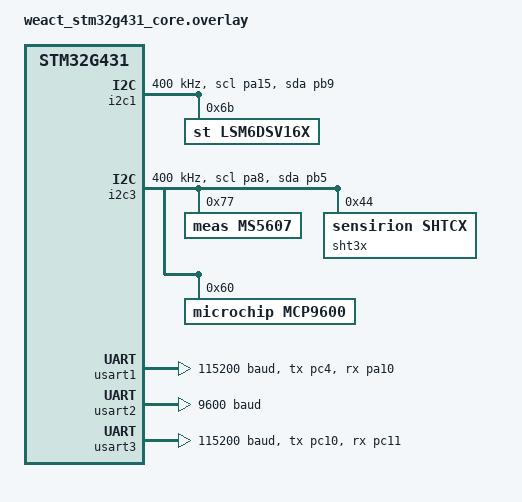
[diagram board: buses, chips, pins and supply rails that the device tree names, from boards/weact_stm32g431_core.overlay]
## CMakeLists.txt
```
cmake_minimum_required(VERSION 3.20.0)

# Board root for custom board
set(BOARD_ROOT ${CMAKE_CURRENT_SOURCE_DIR}/boards)

# Zephyr 찾기
find_package(Zephyr REQUIRED HINTS $ENV{ZEPHYR_BASE})

project(space_balloon_ver2 LANGUAGES C)

# 포팅된 소스 파일
set(PORTED_SOURCES
    src/main.c
    src/fdir_zephyr.c
    src/sensors_zephyr.c
    src/telemetry_zephyr.c
    src/kalman.c
    src/pid.c
    src/actuators_zephyr.c
)

# Zephyr 앱으로 빌드
target_sources(app PRIVATE ${PORTED_SOURCES})

# Include 경로
target_include_directories(app PRIVATE
    ${CMAKE_CURRENT_SOURCE_DIR}/include
)

# C11 표준
target_compile_options(app PRIVATE -std=c11)

# 디버그 심볼
target_compile_options(app PRIVATE -g)
```

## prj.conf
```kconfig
# Space Balloon Ver2 - Zephyr RTOS 설정

# =============================================================================
# 기본 설정
# =============================================================================
CONFIG_MAIN_STACK_SIZE=2048
CONFIG_SYSTEM_WORKQUEUE_STACK_SIZE=2048

# =============================================================================
# 로깅
# =============================================================================
CONFIG_LOG=y
CONFIG_LOG_DEFAULT_LEVEL=3
CONFIG_LOG_BACKEND_UART=y
CONFIG_CBPRINTF_FP_SUPPORT=y
CONFIG_PRINTK=y

# =============================================================================
# UART (텔레메트리 출력)
# =============================================================================
CONFIG_SERIAL=y
CONFIG_UART_INTERRUPT_DRIVEN=y

# =============================================================================
# I2C (센서 통신)
# =============================================================================
CONFIG_I2C=y
CONFIG_I2C_INIT_PRIORITY=60
CONFIG_I2C_STM32=y
CONFIG_I2C_STM32_INTERRUPT=y

# =============================================================================
# GPIO (액추에이터 제어)
# =============================================================================
CONFIG_GPIO=y

# =============================================================================
# 타이머 (FDIR 타임아웃)
# =============================================================================
CONFIG_TIMER_READS_ITS_FREQUENCY_AT_RUNTIME=y

# =============================================================================
# 스레드 (RTOS)
# =============================================================================
CONFIG_MULTITHREADING=y
CONFIG_NUM_COOP_PRIORITIES=16
CONFIG_NUM_PREEMPT_PRIORITIES=16

# =============================================================================
# 센서 서브시스템
# =============================================================================
CONFIG_SENSOR=y

# =============================================================================
# 디버그
# =============================================================================
CONFIG_DEBUG=y
CONFIG_ASSERT=y

# =============================================================================
# 부팅 배너
# =============================================================================
CONFIG_BOOT_BANNER=y
```

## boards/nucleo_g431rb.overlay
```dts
/*
 * Space Balloon Ver2 - Board Overlay for nucleo_g431rb
 * 
 * This overlay adds custom sensors and actuators for the
 * high-altitude radiosonde.
 */

/* Enable I2C1 */
&i2c1 {
	status = "okay";
	clock-frequency = <I2C_BITRATE_FAST>;
	
	/* I2C1 sensors */
	imu: lsm6dsv16x@6b {
		compatible = "st,lsm6dsv16x";
		reg = <0x6b>;
	};
	
	mag: mlx90393@0c {
		compatible = "melexis,mlx90393";
		reg = <0x0c>;
	};
	
	rad: gdk101@18 {
		compatible = "fuka,gdk101";
		reg = <0x18>;
	};
};
```

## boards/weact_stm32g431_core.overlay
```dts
/*
 * Space Balloon Ver2 - Device Tree Overlay for WeAct STM32G431CBU6
 *
 * 핀 매핑 (STM32CubeMX 기준):
 *   I2C1:   PA15(SCL), PB9(SDA)  → IMU(LSM6DSV16X), MLX90393, GDK101
 *   I2C3:   PA8(SCL),  PB5(SDA)  → MS5607, SHT3x, MCP9600, CM1107N, SEN0321
 *   USART1: PC4(TX),   PA10(RX)  → GPS (XA1110)
 *   USART2: PA2(TX),   PA3(RX)   → 미세먼지 (PMS3003) [보드 DTS에 정의됨]
 *   USART3: PC10(TX),  PC11(RX)  → 텔레메트리 (LoRa SX1276)
 */

/* I2C1 센서 (Downside Board) */
&i2c1 {
	status = "okay";
	pinctrl-0 = <&i2c1_scl_pa15 &i2c1_sda_pb9>;
	pinctrl-names = "default";
	clock-frequency = <I2C_BITRATE_FAST>;

	lsm6dsv16x: lsm6dsv16x@6b {
		compatible = "st,lsm6dsv16x";
		reg = <0x6b>;
	};
};

/* I2C3 센서 (Upside Board) - 주의: 하드웨어는 I2C3 사용 */
&i2c3 {
	status = "okay";
	pinctrl-0 = <&i2c3_scl_pa8 &i2c3_sda_pb5>;
	pinctrl-names = "default";
	clock-frequency = <I2C_BITRATE_FAST>;

	ms5607: ms5607@77 {
		compatible = "meas,ms5607";
		reg = <0x77>;
	};

	sht3x: shtcx@44 {
		compatible = "sensirion,shtcx";
		reg = <0x44>;
		measure-mode = "normal";
	};

	mcp9600: mcp9600@60 {
		compatible = "microchip,mcp9600";
		reg = <0x60>;
	};
};

/* USART1 - GPS (XA1110) */
&usart1 {
	status = "okay";
	pinctrl-0 = <&usart1_tx_pc4 &usart1_rx_pa10>;
	pinctrl-names = "default";
	current-speed = <115200>;
};

/* USART2 - 미세먼지 (PMS3003) */
/* pinctrl-0은 보드 DTS에 이미 정의됨 (usart2_tx_pa2, usart2_rx_pa3) */
&usart2 {
	status = "okay";
	current-speed = <9600>;
};

/* USART3 - 텔레메트리 (LoRa SX1276, 115200bps) */
&usart3 {
	status = "okay";
	pinctrl-0 = <&usart3_tx_pc10 &usart3_rx_pc11>;
	pinctrl-names = "default";
	current-speed = <115200>;
};
```

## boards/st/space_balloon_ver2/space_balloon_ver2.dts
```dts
/*
 * Copyright (c) 2026 Hyeonsu Park
 * SPDX-License-Identifier: Apache-2.0
 */

/dts-v1/;
#include <st/g4/stm32g431Xb.dtsi>
#include <st/g4/stm32g431c(6-8-b)tx-pinctrl.dtsi>

/ {
	model = "Space Balloon Ver2 Radiosonde";
	compatible = "space-balloon-ver2";

	chosen {
		zephyr,console = &usart3;
		zephyr,shell-uart = &usart3;
		zephyr,sram = &sram0;
		zephyr,flash = &flash0;
	};

	leds {
		compatible = "gpio-leds";
		green_led: led_0 {
			gpios = <&gpioa 5 GPIO_ACTIVE_HIGH>;
			label = "Status LED";
		};
	};

	pwmleds {
		compatible = "pwm-leds";
		kapton_heater: kapton_heater {
			pwms = <&pwm3 1 PWM_MSEC(20) PWM_POLARITY_NORMAL>;
			label = "Kapton Heater";
		};
		minibulb: minibulb {
			pwms = <&pwm3 0 PWM_MSEC(20) PWM_POLARITY_NORMAL>;
			label = "Minibulb Indicator";
		};
	};

	aliases {
		led0 = &green_led;
		pwm-led0 = &kapton_heater;
		pwm-led1 = &minibulb;
		i2c1 = &i2c1;
		i2c3 = &i2c3;
		uart1 = &usart1;
		uart2 = &usart2;
		uart3 = &usart3;
		adc1 = &adc1;
	};

	/* External sensors */
	sensors {
		compatible = "simple-bus";
		
		/* IMU - LSM6DSV16X */
		imu: imu@6b {
			compatible = "st,lsm6dsv16x";
			reg = <0x6b>;
		};
		
		/* Magnetometer - MLX90393 */
		mag: mag@0c {
			compatible = "melexis,mlx90393";
			reg = <0x0c>;
		};
		
		/* Radiation - GDK101 */
		rad: rad@18 {
			compatible = "fuka,gdk101";
			reg = <0x18>;
		};
		
		/* Barometer - MS5611 */
		baro: baro@77 {
			compatible = "te,ms5611";
			reg = <0x77>;
		};
		
		/* Humidity - SHT31 */
		humidity: humidity@44 {
			compatible = "sensirion,sht3xd";
			reg = <0x44>;
		};
		
		/* CO2 - CM1107N */
		co2: co2@31 {
			compatible = "cubic,cm1107n";
			reg = <0x31>;
		};
		
		/* Thermocouple - MCP9600 */
		thermo: thermo@60 {
			compatible = "microchip,mcp9600";
			reg = <0x60>;
		};
		
		/* Ozone - SEN0321 */
		ozone: ozone@70 {
			compatible = "dfrobot,sen0321";
			reg = <0x70>;
		};
	};
};

/* I2C1 - Downside Board (IMU, Mag, Radiation) */
&i2c1 {
	pinctrl-0 = <&i2c1_scl_pa15 &i2c1_sda_pa16>;
	pinctrl-names = "default";
	status = "okay";
	clock-frequency = <I2C_BITRATE_FAST>;
};

/* I2C3 - Upside Board (Baro, Humidity, CO2, Thermocouple, Ozone) */
&i2c3 {
	pinctrl-0 = <&i2c3_scl_pa7 &i2c3_sda_pb6>;
	pinctrl-names = "default";
	status = "okay";
	clock-frequency = <I2C_BITRATE_FAST>;
};

/* UART1 - GPS (XA1110) */
&usart1 {
	pinctrl-0 = <&usart1_tx_pa9 &usart1_rx_pa10>;
	pinctrl-names = "default";
	current-speed = <115200>;
	status = "okay";
};

/* UART2 - Dust Sensor (PMS3003) */
&usart2 {
	pinctrl-0 = <&usart2_tx_pa2 &usart2_rx_pa3>;
	pinctrl-names = "default";
	current-speed = <9600>;
	status = "okay";
};

/* UART3 - Telemetry Output */
&usart3 {
	pinctrl-0 = <&usart3_tx_pb10 &usart3_rx_pb11>;
	pinctrl-names = "default";
	current-speed = <115200>;
	status = "okay";
};

/* ADC1 - Battery Voltage */
&adc1 {
	pinctrl-0 = <&adc1_in2_pa1>;
	pinctrl-names = "default";
	status = "okay";
};

/* PWM3 - Heaters */
&tsc3 {
	status = "okay";
	pwm3: pwm {
		status = "okay";
		pinctrl-0 = <&tsc3_out1_pa6 &tsc3_out0_pc6>;
		pinctrl-names = "default";
	};
};

/* GPIO resets for sensors */
&gpioa {
	status = "okay";
};

&gpiob {
	status = "okay";
};

&gpioc {
	status = "okay";
};
```

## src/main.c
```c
/**
 * @file main.c
 * @brief Space Balloon Ver2 - Zephyr RTOS 메인 진입점
 * @author Hyeonsu Park
 * @date 2026-02-22
 */

#include <zephyr/kernel.h>
#include <zephyr/logging/log.h>
#include "fdir_zephyr.h"

LOG_MODULE_REGISTER(main, LOG_LEVEL_INF);

/* 스레드 스택 정의 */
K_THREAD_STACK_DEFINE(fdir_stack, 1024);
K_THREAD_STACK_DEFINE(sensor_stack, 2048);
K_THREAD_STACK_DEFINE(telemetry_stack, 1024);

/* 스레드 ID */
static struct k_thread fdir_thread;
static struct k_thread sensor_thread;
static struct k_thread telemetry_thread;

/* 센서 데이터 - 실제 센서에서 읽은 값 저장 */
static struct {
    int32_t accel[3];
    int32_t gyro[3];
    uint32_t pressure_pa;
    int16_t temp_c_x100;
    uint16_t humid_rh_x100;
    int16_t external_temp_c_x100;
    uint16_t co2_ppm;
    int16_t ozone_ppb;
    uint16_t radiation_usvh_x100;
    float altitude_m;
    uint32_t update_count;
} sensor_data;

/* 센서 함수 선언 */
extern void Sensors_Init(void);
extern void Sensors_Read_IMU(int32_t accel[3], int32_t gyro[3]);
extern void Sensors_Read_Baro(uint32_t *press_pa, int16_t *temp_c_x100);
extern void Sensors_Read_Humid(int16_t *temp_c_x100, uint16_t *rh_x100);
extern void Sensors_Read_External(int16_t *temp_c_x100);
extern void Sensors_Read_AirQuality(uint16_t *co2, int16_t *ozone, uint16_t *pm1_0, uint16_t *pm2_5);
extern void Sensors_Read_Rad(uint16_t *usvh);
extern void Sensors_Read_BoardTemp(int16_t *temp_c_x100);
extern void Sensors_Read_Battery(uint16_t *mv, int16_t *temp_c_x100);

/* 텔레메트리 함수 선언 */
extern void Telemetry_Init(void);
extern void Telemetry_Process(uint16_t status_flags, uint32_t uptime_ms,
                              int32_t accel[3], int32_t gyro[3],
                              uint32_t press_pa, int16_t temp_c_x100,
                              float alt_m);

/* 고도 계산 (기압 기반) */
static float calculate_altitude(uint32_t press_pa) {
    /* 국제 표준 대기 모델 */
    const float P0 = 101325.0f;  /* 해면 기압 (Pa) */
    const float T0 = 288.15f;    /* 해면 온도 (K) */
    const float L = 0.0065f;     /* 기온 감률 (K/m) */
    const float R = 8.31447f;    /* 기체 상수 */
    const float M = 0.0289644f;  /* 공기 몰질량 (kg/mol) */
    const float g = 9.80665f;    /* 중력가속도 */
    
    if (press_pa <= 0) return 0.0f;
    
    float P = (float)press_pa;
    float alt = (T0 / L) * (1.0f - powf(P / P0, (R * L) / (g * M)));
    
    return alt;
}

/**
 * @brief FDIR 스레드 (50Hz)
 */
static void fdir_thread_fn(void *p1, void *p2, void *p3) {
    LOG_INF("FDIR thread started");
    
    while (1) {
        uint32_t now = k_uptime_get_32();
        FDIR_Update(now);
        k_msleep(20);  /* 50 Hz */
    }
}

/**
 * @brief 센서 스레드 (10Hz)
 */
static void sensor_thread_fn(void *p1, void *p2, void *p3) {
    LOG_INF("Sensor thread started");
    
    while (1) {
        uint32_t now = k_uptime_get_32();
        sensor_data.update_count++;
        
        /* 실제 센서에서 데이터 읽기 */
        Sensors_Read_IMU(sensor_data.accel, sensor_data.gyro);
        Sensors_Read_Baro(&sensor_data.pressure_pa, &sensor_data.temp_c_x100);
        Sensors_Read_Humid(&sensor_data.temp_c_x100, &sensor_data.humid_rh_x100);
        Sensors_Read_External(&sensor_data.external_temp_c_x100);
        
        /* 공기질 센서 */
        uint16_t pm1_0, pm2_5;
        Sensors_Read_AirQuality(&sensor_data.co2_ppm, &sensor_data.ozone_ppb, 
                                &pm1_0, &pm2_5);
        
        /* 방사선 센서 */
        Sensors_Read_Rad(&sensor_data.radiation_usvh_x100);
        
        /* 고도 계산 */
        sensor_data.altitude_m = calculate_altitude(sensor_data.pressure_pa);
        
        /* 온도 보호 */
        FDIR_CheckTemperatureProtection(sensor_data.temp_c_x100);
        
        /* FDIR 범위 검증 */
        FDIR_ValidateRange_Baro(sensor_data.pressure_pa);
        
        /* 상태 플래그 확인 */
        uint16_t flags = FDIR_GetStatusFlags();
        
        /* 주기적 로그 (1초마다) */
        if (sensor_data.update_count % 10 == 0) {
            LOG_INF("Sensors: accel=[%d,%d,%d], press=%uPa, alt=%.1fm, temp=%.1fC, flags=0x%04X",
                    sensor_data.accel[0], sensor_data.accel[1], sensor_data.accel[2],
                    sensor_data.pressure_pa, sensor_data.altitude_m, 
                    sensor_data.temp_c_x100 / 100.0f, flags);
        }
        
        k_msleep(100);  /* 10 Hz */
    }
}

/**
 * @brief 텔레메트리 스레드 (50Hz)
 */
static void telemetry_thread_fn(void *p1, void *p2, void *p3) {
    LOG_INF("Telemetry thread started (UART3)");
    
    while (1) {
        uint32_t now = k_uptime_get_32();
        uint16_t flags = FDIR_GetStatusFlags();
        
        /* UART3로 148바이트 프레임 전송 */
        Telemetry_Process(flags, now,
                          sensor_data.accel, sensor_data.gyro,
                          sensor_data.pressure_pa, sensor_data.temp_c_x100,
                          sensor_data.altitude_m);
        
        k_msleep(20);  /* 50 Hz */
    }
}

/**
 * @brief 메인 진입점
 */
int main(void) {
    LOG_INF("========================================");
    LOG_INF("Space Balloon Ver2 - Zephyr RTOS");
    LOG_INF("========================================");
    LOG_INF("Board: %s", CONFIG_BOARD);
    LOG_INF("Build: " __DATE__ " " __TIME__);
    
    /* 센서 초기화 */
    Sensors_Init();
    
    /* 텔레메트리 초기화 */
    Telemetry_Init();
    
    /* FDIR 초기화 */
    FDIR_Init();
    
    /* 스레드 시작 */
    k_thread_create(&fdir_thread, fdir_stack,
                    K_THREAD_STACK_SIZEOF(fdir_stack),
                    fdir_thread_fn, NULL, NULL, NULL,
                    5, 0, K_NO_WAIT);
    
    k_thread_create(&sensor_thread, sensor_stack,
                    K_THREAD_STACK_SIZEOF(sensor_stack),
                    sensor_thread_fn, NULL, NULL, NULL,
                    4, 0, K_NO_WAIT);
    
    k_thread_create(&telemetry_thread, telemetry_stack,
                    K_THREAD_STACK_SIZEOF(telemetry_stack),
                    telemetry_thread_fn, NULL, NULL, NULL,
                    3, 0, K_NO_WAIT);
    
    LOG_INF("All threads started");
    
    /* 메인 스레드는 모니터링 */
    while (1) {
        k_msleep(5000);
        uint16_t flags = FDIR_GetStatusFlags();
        LOG_INF("=== SYSTEM STATUS: flags=0x%04X ===", flags);
    }
    
    return 0;
}
```

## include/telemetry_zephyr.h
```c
#ifndef TELEMETRY_ZEPHYR_H
#define TELEMETRY_ZEPHYR_H

#include <stdint.h>

#pragma pack(push, 1)

typedef struct {
  uint32_t uptime_ms;
  uint16_t status_flags;
  uint16_t co2_ppm;
  int32_t accel_mps2_x1000[3];
  int32_t gyro_rads_x1000[3];
  float mag_uT[3];
  int16_t board_temp_c_x100;
  int16_t external_temp_c_x100;
  int16_t sht31_temp_c_x100;
  int16_t bat_temp_c_x100;
  int32_t gps_lat_deg_e7;
  int32_t gps_lon_deg_e7;
  float gps_alt_m;
  uint8_t gps_fix;
  uint8_t gps_sats_used;
  uint8_t gps_sats_in_view_total;
  uint8_t gps_sats_in_view_gps;
  uint8_t gps_sats_in_view_glonass;
  uint8_t gps_sats_in_view_galileo;
  uint8_t gps_sats_in_view_beidou;
  uint8_t gps_utc_hour;
  uint8_t gps_utc_min;
  uint8_t gps_utc_sec;
  uint8_t gps_utc_day;
  uint8_t gps_utc_month;
  uint16_t gps_utc_year;
  uint16_t bat_mv;
  uint16_t pm1_ugm3;
  uint16_t pm25_ugm3;
  uint16_t pm10_ugm3;
  int16_t ozone_ppb;
  uint16_t sht31_rh_x100;
  uint32_t ms5611_press_pa;
  int16_t ms5611_temp_c_x100;
  uint16_t gdk101_usvh_x100;
  uint8_t heater_bat_duty_percent;
  uint8_t heater_board_duty_percent;
  float press_alt_m;
  float kf_alt_m;
  float kf_roll_deg;
  float kf_pitch_deg;
} telemetry_payload_t;

#pragma pack(pop)

void Telemetry_Init(void);
void Telemetry_Process(telemetry_payload_t *payload);

#endif /* TELEMETRY_ZEPHYR_H */
```

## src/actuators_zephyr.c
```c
/**
 * @file actuators_zephyr.c
 * @brief 액추에이터 제어 - Zephyr 포팅 (스텁)
 */

#include <zephyr/logging/log.h>
#include <zephyr/kernel.h>

LOG_MODULE_REGISTER(actuators, LOG_LEVEL_INF);

/* 액추에이터 초기화 */
void Actuators_Init(void) {
    LOG_INF("Actuators initialized (stub)");
}

/* 히터 제어 */
void Actuators_SetHeater(float duty_percent) {
    LOG_DBG("Heater duty: %.1f%%", duty_percent);
}

/* 펌프 제어 */
void Actuators_SetPump(bool enable) {
    LOG_DBG("Pump: %s", enable ? "ON" : "OFF");
}

/* 액추에이터 처리 */
void Actuators_Process(void) {
    /* Stub */
}
```

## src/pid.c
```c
/**
 * @file pid.c
 * @brief PID 제어기 (순수 C, 플랫폼 독립)
 */

#include <stdint.h>

typedef struct {
    float kp;
    float ki;
    float kd;
    float setpoint;
    float integral;
    float prev_error;
    float integral_limit;
    float output_limit;
} PID_Controller_t;

static PID_Controller_t pid = {
    .kp = 1.0f,
    .ki = 0.1f,
    .kd = 0.01f,
    .setpoint = 0.0f,
    .integral = 0.0f,
    .prev_error = 0.0f,
    .integral_limit = 100.0f,
    .output_limit = 100.0f
};

void PID_Init(float kp, float ki, float kd) {
    pid.kp = kp;
    pid.ki = ki;
    pid.kd = kd;
    pid.integral = 0.0f;
    pid.prev_error = 0.0f;
}

void PID_SetSetpoint(float setpoint) {
    pid.setpoint = setpoint;
}

float PID_Compute(float measurement, float dt) {
    float error = pid.setpoint - measurement;
    
    /* 적분 */
    pid.integral += error * dt;
    if (pid.integral > pid.integral_limit) {
        pid.integral = pid.integral_limit;
    } else if (pid.integral < -pid.integral_limit) {
        pid.integral = -pid.integral_limit;
    }
    
    /* 미분 */
    float derivative = (error - pid.prev_error) / dt;
    pid.prev_error = error;
    
    /* PID 출력 */
    float output = pid.kp * error + pid.ki * pid.integral + pid.kd * derivative;
    
    /* 출력 제한 */
    if (output > pid.output_limit) {
        output = pid.output_limit;
    } else if (output < -pid.output_limit) {
        output = -pid.output_limit;
    }
    
    return output;
}

float PID_GetOutput(void) {
    return pid.kp * pid.prev_error + pid.ki * pid.integral;
}
```

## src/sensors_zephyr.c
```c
/**
 * @file sensors_zephyr.c
 * @brief 센서 드라이버 - Zephyr 포팅 (시뮬레이션용)
 */

#include <zephyr/kernel.h>
#include <zephyr/logging/log.h>
#include "fdir_zephyr.h"

LOG_MODULE_REGISTER(sensors, LOG_LEVEL_INF);

/* ========================================================================== */
/* 센서 데이터 버퍼                                                            */
/* ========================================================================== */

static struct {
    int32_t accel[3];
    int32_t gyro[3];
    uint32_t pressure_pa;
    int16_t temp_c_x100;
    uint16_t humid_rh_x100;
    uint16_t co2_ppm;
    uint16_t radiation_usvh;
} sensor_data;

/* ========================================================================== */
/* 센서 초기화                                                                 */
/* ========================================================================== */

void Sensors_Init(void) {
    LOG_INF("Sensors initialized (simulation mode)");
}

void Sensors_Reset(int sensor_id) {
    LOG_WRN("Sensor %d reset requested", sensor_id);
}

void Sensors_ProcessReset(void) {
    /* Non-blocking reset state machine */
}

/* ========================================================================== */
/* 센서 데이터 읽기                                                            */
/* ========================================================================== */

void Sensors_Read_IMU(int32_t accel[3], int32_t gyro[3]) {
    /* 시뮬레이션 데이터 */
    accel[0] = 100;
    accel[1] = 50;
    accel[2] = 9800;  /* 1g */
    gyro[0] = gyro[1] = gyro[2] = 0;
}

void Sensors_Read_Baro(uint32_t *press_pa, int16_t *temp_c_x100) {
    *press_pa = 101325;
    *temp_c_x100 = 2500;
}

void Sensors_Read_Humid(int16_t *temp_c_x100, uint16_t *rh_x100) {
    *temp_c_x100 = 2500;
    *rh_x100 = 5000;
}

void Sensors_Read_All(void *data) {
    uint32_t now = k_uptime_get_32();
    uint16_t rh;
    
    Sensors_Read_IMU(sensor_data.accel, sensor_data.gyro);
    Sensors_Read_Baro(&sensor_data.pressure_pa, &sensor_data.temp_c_x100);
    Sensors_Read_Humid(&sensor_data.temp_c_x100, &rh);
    
    /* FDIR에 정상 보고 */
    FDIR_ReportOK(SENSOR_ID_IMU, now);
    FDIR_ReportOK(SENSOR_ID_BARO, now);
    FDIR_ReportOK(SENSOR_ID_SHT, now);
}

/* ========================================================================== */
/* 기타 센서 함수 (스텁)                                                       */
/* ========================================================================== */

void Sensors_Read_Mag(float mag[3]) {
    mag[0] = mag[1] = mag[2] = 0.0f;
}

void Sensors_Read_Rad(uint16_t *uSvh) {
    *uSvh = 0;
}

void Sensors_Read_GPS(int32_t *lat, int32_t *lon, float *alt, uint8_t *fix,
                      uint8_t *sats, uint8_t *sats_view,
                      uint8_t *sats_gps, uint8_t *sats_glonass,
                      uint8_t *sats_galileo, uint8_t *sats_beidou,
                      uint8_t *utc_hour, uint8_t *utc_min, uint8_t *utc_sec,
                      uint8_t *utc_day, uint8_t *utc_month, uint16_t *utc_year) {
    *lat = *lon = 0;
    *alt = 0.0f;
    *fix = 0;
    *sats = 0;
}

void Sensors_Read_AirQuality(uint16_t *co2, int16_t *ozone, 
                             uint16_t *pm1_0, uint16_t *pm2_5) {
    *co2 = 400;
    *ozone = 0;
    *pm1_0 = *pm2_5 = 0;
}

void Sensors_Read_Battery(uint16_t *mv, int16_t *temp_c_x100) {
    *mv = 3700;
    *temp_c_x100 = 2500;
}

void Sensors_Read_BoardTemp(int16_t *temp_c_x100) {
    *temp_c_x100 = 2500;
}

void Sensors_Read_External(int16_t *temp_c_x100) {
    *temp_c_x100 = 2500;
}

void Sensors_SetHeater_SHT31(uint8_t enable) {
    (void)enable;
}
```

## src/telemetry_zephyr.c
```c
/**
 * @file telemetry_zephyr.c
 * @brief 텔레메트리 - Zephyr RTOS 포팅 (UART3 148바이트 프레임)
 */

#include "telemetry_zephyr.h"
#include "fdir_zephyr.h"
#include <string.h>
#include <zephyr/device.h>
#include <zephyr/drivers/uart.h>
#include <zephyr/kernel.h>
#include <zephyr/logging/log.h>

LOG_MODULE_REGISTER(telemetry, LOG_LEVEL_INF);

/* ========================================================================== */
/* 프레임 구조 정의 */
/* ========================================================================== */

#define TELEMETRY_MAGIC_0 0xA5
#define TELEMETRY_MAGIC_1 0x5A
#define TELEMETRY_VERSION 1
#define TELEMETRY_MSG_TYPE 0x02 /* Sensor Snapshot */
#define TELEMETRY_PAYLOAD_LEN sizeof(telemetry_payload_t)
#define TELEMETRY_FRAME_SIZE sizeof(telemetry_frame_t)

#pragma pack(push, 1)

/* telemetry_payload_t is now in telemetry_zephyr.h */

typedef struct {
  uint8_t magic[2];
  uint8_t version;
  uint8_t msg_type;
  uint16_t payload_len;
  uint16_t seq;
  uint32_t timestamp_ms;
  telemetry_payload_t payload;
  uint16_t crc16;
} telemetry_frame_t;

#pragma pack(pop)

/* ========================================================================== */
/* 전역 변수 */
/* ========================================================================== */

static uint16_t seq_number = 0;
static telemetry_frame_t tx_frame;

/* ========================================================================== */
/* UART 장치 (실제 하드웨어용) */
/* ========================================================================== */

#if defined(CONFIG_BOARD_WEARCT_STM32G431_CORE) ||                             \
    defined(CONFIG_BOARD_NUCLEO_G431RB)
#define TELEMETRY_UART_ENABLED 1
#define UART_DEV_NODE DT_NODELABEL(usart3)
#elif defined(CONFIG_BOARD_QEMU_CORTEX_M3)
/* QEMU 시뮬레이션: uart1 (두 번째 직렬 포트) 사용 */
#define TELEMETRY_UART_ENABLED 1
#define UART_DEV_NODE DT_NODELABEL(uart1)
#else
/* 다른 QEMU/보드 시뮬레이션 */
#define TELEMETRY_UART_ENABLED 0
#define UART_DEV_NODE DT_INVALID_NODE
#endif

static const struct device *uart_dev = NULL;
static bool uart_ready = false;

/* ========================================================================== */
/* CRC-16/CCITT-FALSE                                                         */
/* ========================================================================== */

static uint16_t crc16_ccitt(const uint8_t *data, uint16_t length) {
  uint16_t crc = 0xFFFF;

  for (uint16_t i = 0; i < length; i++) {
    crc ^= (uint16_t)data[i] << 8;
    for (uint8_t j = 0; j < 8; j++) {
      if (crc & 0x8000) {
        crc = (crc << 1) ^ 0x1021;
      } else {
        crc = crc << 1;
      }
    }
  }

  return crc;
}

/* ========================================================================== */
/* 초기화 */
/* ========================================================================== */

void Telemetry_Init(void) {
#if TELEMETRY_UART_ENABLED
  uart_dev = DEVICE_DT_GET(UART_DEV_NODE);
  if (device_is_ready(uart_dev)) {
    uart_ready = true;
    LOG_INF("Telemetry initialized (UART3, 148 bytes/frame, BINARY)");
  } else {
    LOG_ERR("UART3 not ready");
  }
#else
  LOG_INF("Telemetry initialized (QEMU Simulation, log only)");
#endif
}

/* ========================================================================== */
/* 프레임 생성 */
/* ========================================================================== */

void Telemetry_BuildFrame(telemetry_payload_t *payload) {
  /* 헤더 */
  tx_frame.magic[0] = TELEMETRY_MAGIC_0;
  tx_frame.magic[1] = TELEMETRY_MAGIC_1;
  tx_frame.version = TELEMETRY_VERSION;
  tx_frame.msg_type = TELEMETRY_MSG_TYPE;
  tx_frame.payload_len = TELEMETRY_PAYLOAD_LEN;
  tx_frame.seq = seq_number++;
  tx_frame.timestamp_ms = payload->uptime_ms;

  /* 페이로드 복사 */
  memcpy(&tx_frame.payload, payload, sizeof(telemetry_payload_t));

  /* CRC 계산 (헤더 + 페이로드) */
  tx_frame.crc16 =
      crc16_ccitt((const uint8_t *)&tx_frame, sizeof(telemetry_frame_t) - 2);
}

/* ========================================================================== */
/* 프레임 전송 */
/* ========================================================================== */

void Telemetry_Send(void) {
#if TELEMETRY_UART_ENABLED
  /* 실제 하드웨어: UART3로 148바이트 바이너리 전송 */
  if (uart_ready && uart_dev != NULL) {
    /* UART 폴링 전송 */
    for (int i = 0; i < TELEMETRY_FRAME_SIZE; i++) {
      uart_poll_out(uart_dev, ((uint8_t *)&tx_frame)[i]);
    }

    /* 디버그 로그 (1초마다) */
    if (tx_frame.seq % 50 == 0) {
      LOG_INF("TX: seq=%u, flags=0x%04X, crc=0x%04X", tx_frame.seq,
              tx_frame.payload.status_flags, tx_frame.crc16);
    }
  }
#else
  /* QEMU 시뮬레이션: 로그만 출력 */
  LOG_INF("TELEMETRY FRAME: seq=%u, uptime=%ums, flags=0x%04X, press=%uPa, "
          "alt=%.1fm",
          tx_frame.seq, tx_frame.timestamp_ms, tx_frame.payload.status_flags,
          tx_frame.payload.ms5611_press_pa, tx_frame.payload.press_alt_m);
#endif
}

/* ========================================================================== */
/* 전체 텔레메트리 처리 */
/* ========================================================================== */

void Telemetry_Process(telemetry_payload_t *payload) {
  Telemetry_BuildFrame(payload);
  Telemetry_Send();
}
```
